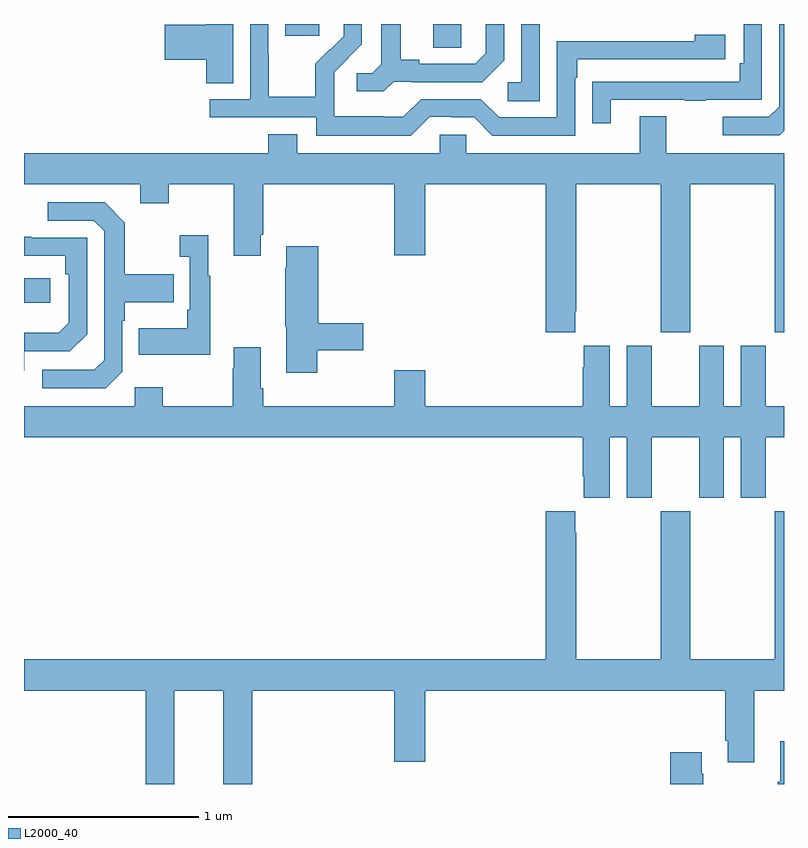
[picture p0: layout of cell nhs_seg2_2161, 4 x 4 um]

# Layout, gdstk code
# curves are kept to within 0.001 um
import gdstk
lib = gdstk.Library(unit=1e-6, precision=1e-09)
def R(c, l, rs):  # rectangles x0, y0, x1, y1
    for r in rs: c.add(gdstk.rectangle(r[:2], r[2:], *l))
def P(c, l, *ps):  # polygons
    for p in ps: c.add(gdstk.Polygon(p, *l))
L2000_40 = (2000, 40)

nhs_seg2_2161 = lib.new_cell('nhs_seg2_2161')
R(nhs_seg2_2161, L2000_40, [(223,660.332,223.138,660.462), (225.155,661.675,225.3,661.8), (224.375,661.737,224.554,661.8)])
P(nhs_seg2_2161, L2000_40, [(224.101,661.8),(223.958,661.8),(223.958,661.796),(223.74,661.796),(223.74,661.613),(223.958,661.613),(223.958,661.489),(224.101,661.489)],
  [(225.714,661.8),(225.618,661.8),(225.618,661.494),(225.546,661.494),(225.546,661.393),(225.714,661.393)],
  [(224.946,661.497),(225.04,661.497),(225.04,661.494),(225.412,661.494),(225.528,661.61),(225.528,661.8),(225.431,661.8),(225.431,661.647),(225.374,661.59),(225.079,661.59),(225.079,661.613),(224.983,661.613),(224.983,661.8),(224.879,661.8),(224.879,661.589),(224.832,661.542),(224.751,661.542),(224.751,661.445),(224.894,661.445)],
  [(226.087,661.401),(226.477,661.401),(226.477,661.396),(226.589,661.396),(226.589,661.401),(226.884,661.401),(226.884,661.8),(226.788,661.8),(226.788,661.594),(226.768,661.594),(226.768,661.497),(226.093,661.497),(226.093,661.496),(225.991,661.496),(225.991,661.278),(226.087,661.278)],
  [(225.135,661.311),(225.251,661.311),(225.251,661.308),(225.369,661.308),(225.465,661.212),(225.9,661.212),(225.9,661.517),(225.913,661.517),(225.913,661.614),(226.69,661.614),(226.69,661.744),(226.529,661.744),(226.529,661.71),(225.804,661.71),(225.804,661.308),(225.501,661.308),(225.405,661.404),(225.09,661.404),(224.997,661.311),(224.897,661.311),(224.897,661.315),(224.634,661.315),(224.634,661.449),(224.632,661.449),(224.632,661.546),(224.778,661.694),(224.778,661.8),(224.684,661.8),(224.684,661.736),(224.613,661.665),(224.61,661.668),(224.533,661.591),(224.533,661.417),(224.289,661.417),(224.289,661.64),(224.286,661.64),(224.286,661.8),(224.19,661.8),(224.19,661.404),(223.977,661.404),(223.977,661.308),(224.538,661.308),(224.538,661.211),(225.035,661.211)],
  [(227,661.238),(227,661.8),(226.974,661.8),(226.974,661.365),(226.92,661.311),(226.677,661.311),(226.677,661.215),(226.977,661.215)],
  [(225.901,660.289),(225.906,660.289),(225.906,660.956),(226.351,660.956),(226.351,660.177),(226.506,660.177),(226.506,660.956),(226.951,660.956),(226.951,660.177),(227,660.177),(227,661.12),(226.381,661.12),(226.381,661.315),(226.241,661.315),(226.241,661.12),(225.327,661.12),(225.327,661.218),(225.189,661.218),(225.189,661.12),(224.437,661.12),(224.437,661.219),(224.285,661.219),(224.285,661.12),(223,661.12),(223,660.956),(223.613,660.956),(223.613,660.857),(223.761,660.857),(223.761,660.956),(224.105,660.956),(224.105,660.579),(224.245,660.579),(224.245,660.691),(224.258,660.691),(224.258,660.956),(224.948,660.956),(224.948,660.582),(225.112,660.582),(225.112,660.956),(225.746,660.956),(225.746,660.177),(225.901,660.177)],
  [(223.518,659.97),(223.518,660.239),(223.531,660.239),(223.531,660.335),(223.787,660.335),(223.787,660.483),(223.531,660.483),(223.531,660.755),(223.425,660.861),(223.125,660.861),(223.125,660.765),(223.368,660.765),(223.422,660.711),(223.422,660.03),(223.371,659.979),(223.095,659.979),(223.095,659.883),(223.431,659.883)],
  [(223.981,660.475),(223.969,660.475),(223.969,660.688),(223.821,660.688),(223.821,660.575),(223.872,660.575),(223.872,660.295),(223.86,660.295),(223.86,660.199),(223.603,660.199),(223.603,660.059),(223.981,660.059)],
  [(223.002,660.078),(223.242,660.078),(223.332,660.168),(223.332,660.675),(223.037,660.675),(223.037,660.68),(223,660.68),(223,660.579),(223.216,660.579),(223.216,660.482),(223.236,660.482),(223.236,660.228),(223.183,660.175),(223,660.175),(223,659.976),(223.002,659.976)],
  [(224.544,660.082),(224.785,660.082),(224.785,660.224),(224.549,660.224),(224.549,660.631),(224.381,660.631),(224.381,660.518),(224.374,660.518),(224.374,660.207),(224.381,660.207),(224.381,659.964),(224.544,659.964)],
  [(226.084,659.624),(226.172,659.624),(226.172,659.307),(226.303,659.307),(226.303,659.624),(226.553,659.624),(226.553,659.307),(226.684,659.307),(226.684,659.624),(226.772,659.624),(226.772,659.307),(226.903,659.307),(226.903,659.624),(227,659.624),(227,659.788),(226.903,659.788),(226.903,660.106),(226.772,660.106),(226.772,659.788),(226.684,659.788),(226.684,660.106),(226.553,660.106),(226.553,659.788),(226.303,659.788),(226.303,660.106),(226.172,660.106),(226.172,659.788),(226.084,659.788),(226.084,660.106),(225.947,660.106),(225.947,659.993),(225.941,659.993),(225.941,659.788),(225.112,659.788),(225.112,659.977),(224.948,659.977),(224.948,659.788),(224.258,659.788),(224.258,659.884),(224.245,659.884),(224.245,660.1),(224.105,660.1),(224.105,659.987),(224.098,659.987),(224.098,659.788),(223.731,659.788),(223.731,659.887),(223.584,659.887),(223.584,659.788),(223,659.788),(223,659.624),(225.941,659.624),(225.941,659.419),(225.947,659.419),(225.947,659.307),(226.084,659.307)],
  [(223.792,658.292),(224.048,658.292),(224.048,657.8),(224.201,657.8),(224.201,658.292),(224.948,658.292),(224.948,657.918),(225.112,657.918),(225.112,658.292),(226.691,658.292),(226.691,658.027),(226.703,658.027),(226.703,657.915),(226.843,657.915),(226.843,658.292),(227,658.292),(227,659.236),(226.951,659.236),(226.951,658.456),(226.506,658.456),(226.506,659.236),(226.351,659.236),(226.351,658.456),(225.906,658.456),(225.906,659.123),(225.901,659.123),(225.901,659.236),(225.746,659.236),(225.746,658.456),(223,658.456),(223,658.292),(223.64,658.292),(223.64,657.8),(223.792,657.8)],
  [(227,658.024),(226.979,658.024),(226.979,657.811),(226.968,657.811),(226.968,657.8),(227,657.8)],
  [(226.575,657.854),(226.567,657.854),(226.567,657.967),(226.4,657.967),(226.4,657.8),(226.575,657.8)])

lib.write_gds('nhs_seg2_2161.gds')
